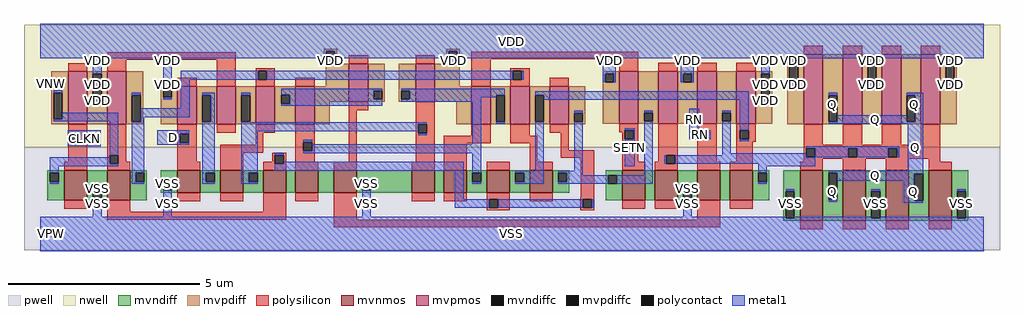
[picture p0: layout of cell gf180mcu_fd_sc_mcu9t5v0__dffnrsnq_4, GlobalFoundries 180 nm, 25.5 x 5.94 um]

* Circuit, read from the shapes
.subckt gf180mcu_fd_sc_mcu9t5v0__dffnrsnq_4 D RN SETN CLKN Q VDD VNW VPW VSS
XM1 VSS CLKN n1 VPW nfet_06v0 w=0.79u l=0.6u
XM2 n2 n1 VSS VPW nfet_06v0 w=0.79u l=0.6u
XM3 n3 D VSS VPW nfet_06v0 w=0.59u l=0.6u
XM4 n4 n2 n3 VPW nfet_06v0 w=0.59u l=0.6u
XM5 n5 n1 n4 VPW nfet_06v0 w=0.59u l=0.6u
XM6 n6 n7 n5 VPW nfet_06v0 w=0.59u l=0.6u
XM7 VSS RN n6 VPW nfet_06v0 w=0.59u l=0.6u
XM8 n8 n4 VSS VPW nfet_06v0 w=0.59u l=0.6u
XM9 n7 SETN n8 VPW nfet_06v0 w=0.59u l=0.6u
XM10 n9 n1 n7 VPW nfet_06v0 w=0.59u l=0.6u
XM11 n10 n2 n9 VPW nfet_06v0 w=0.59u l=0.6u
XM12 n11 SETN n10 VPW nfet_06v0 w=0.79u l=0.6u
XM13 VSS n12 n11 VPW nfet_06v0 w=0.79u l=0.6u
XM14 n13 RN VSS VPW nfet_06v0 w=0.79u l=0.6u
XM15 n12 n9 n13 VPW nfet_06v0 w=0.79u l=0.6u
XM16 Q n12 VSS VPW nfet_06v0 w=1.32u l=0.6u m=4
XM17 VDD CLKN n1 VNW pfet_06v0 w=1.38u l=0.5u
XM18 n2 n1 VDD VNW pfet_06v0 w=1.38u l=0.5u
XM19 n3 D VDD VNW pfet_06v0 w=1u l=0.5u
XM20 n4 n1 n3 VNW pfet_06v0 w=1u l=0.5u
XM21 n14 n2 n4 VNW pfet_06v0 w=1u l=0.5u
XM22 VDD n7 n14 VNW pfet_06v0 w=1u l=0.5u
XM23 n14 RN VDD VNW pfet_06v0 w=1u l=0.5u
XM24 VDD n4 n7 VNW pfet_06v0 w=1u l=0.5u
XM25 n7 SETN VDD VNW pfet_06v0 w=1u l=0.5u
XM26 n9 n2 n7 VNW pfet_06v0 w=1u l=0.5u
XM27 n10 n1 n9 VNW pfet_06v0 w=1u l=0.5u
XM28 n10 SETN VDD VNW pfet_06v0 w=1.38u l=0.5u
XM29 VDD n12 n10 VNW pfet_06v0 w=1.38u l=0.5u
XM30 n12 RN VDD VNW pfet_06v0 w=1.38u l=0.5u
XM31 VDD n9 n12 VNW pfet_06v0 w=1.38u l=0.5u
XM32 Q n12 VDD VNW pfet_06v0 w=1.83u l=0.5u m=4
.ends

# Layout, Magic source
magic
tech gf180mcuD
magscale 1 10
<< nwell >>
rect -86 453 5014 1094
<< pwell >>
rect -86 -86 5014 453
<< mvnmos >>
rect 124 175 244 333
rect 348 175 468 333
rect 716 215 836 333
rect 940 215 1060 333
rect 1164 215 1284 333
rect 1332 215 1452 333
rect 1532 215 1652 333
rect 1940 215 2060 333
rect 2108 215 2228 333
rect 2332 215 2452 333
rect 2556 215 2676 333
rect 3041 175 3161 333
rect 3209 175 3329 333
rect 3433 175 3553 333
rect 3601 175 3721 333
rect 3969 69 4089 333
rect 4193 69 4313 333
rect 4417 69 4537 333
rect 4641 69 4761 333
<< mvpmos >>
rect 144 573 244 849
rect 348 573 448 849
rect 716 573 816 773
rect 920 573 1020 773
rect 1124 573 1224 773
rect 1332 573 1432 773
rect 1612 690 1712 890
rect 1960 690 2060 890
rect 2252 573 2352 773
rect 2456 573 2556 773
rect 2660 573 2760 773
rect 3025 575 3125 851
rect 3229 575 3329 851
rect 3433 575 3533 851
rect 3637 575 3737 851
rect 3989 573 4089 939
rect 4193 573 4293 939
rect 4397 573 4497 939
rect 4601 573 4701 939
<< mvndiff >>
rect 36 320 124 333
rect 36 274 49 320
rect 95 274 124 320
rect 36 175 124 274
rect 244 234 348 333
rect 244 188 273 234
rect 319 188 348 234
rect 244 175 348 188
rect 468 320 556 333
rect 468 274 497 320
rect 543 274 556 320
rect 468 175 556 274
rect 628 274 716 333
rect 628 228 641 274
rect 687 228 716 274
rect 628 215 716 228
rect 836 320 940 333
rect 836 274 865 320
rect 911 274 940 320
rect 836 215 940 274
rect 1060 320 1164 333
rect 1060 274 1089 320
rect 1135 274 1164 320
rect 1060 215 1164 274
rect 1284 215 1332 333
rect 1452 215 1532 333
rect 1652 274 1940 333
rect 1652 228 1681 274
rect 1727 228 1940 274
rect 1652 215 1940 228
rect 2060 215 2108 333
rect 2228 320 2332 333
rect 2228 274 2257 320
rect 2303 274 2332 320
rect 2228 215 2332 274
rect 2452 320 2556 333
rect 2452 274 2481 320
rect 2527 274 2556 320
rect 2452 215 2556 274
rect 2676 320 2764 333
rect 2676 274 2705 320
rect 2751 274 2764 320
rect 2676 215 2764 274
rect 2953 308 3041 333
rect 2953 262 2966 308
rect 3012 262 3041 308
rect 2953 175 3041 262
rect 3161 175 3209 333
rect 3329 234 3433 333
rect 3329 188 3358 234
rect 3404 188 3433 234
rect 3329 175 3433 188
rect 3553 175 3601 333
rect 3721 320 3809 333
rect 3721 274 3750 320
rect 3796 274 3809 320
rect 3721 175 3809 274
rect 3881 222 3969 333
rect 3881 82 3894 222
rect 3940 82 3969 222
rect 3881 69 3969 82
rect 4089 320 4193 333
rect 4089 180 4118 320
rect 4164 180 4193 320
rect 4089 69 4193 180
rect 4313 222 4417 333
rect 4313 82 4342 222
rect 4388 82 4417 222
rect 4313 69 4417 82
rect 4537 314 4641 333
rect 4537 174 4566 314
rect 4612 174 4641 314
rect 4537 69 4641 174
rect 4761 222 4849 333
rect 4761 82 4790 222
rect 4836 82 4849 222
rect 4761 69 4849 82
<< mvpdiff >>
rect 1480 955 1552 968
rect 56 739 144 849
rect 56 599 69 739
rect 115 599 144 739
rect 56 573 144 599
rect 244 836 348 849
rect 244 696 273 836
rect 319 696 348 836
rect 244 573 348 696
rect 448 726 536 849
rect 1480 909 1493 955
rect 1539 909 1552 955
rect 2120 955 2192 968
rect 1480 896 1552 909
rect 1492 890 1552 896
rect 2120 909 2133 955
rect 2179 909 2192 955
rect 2120 890 2192 909
rect 1492 773 1612 890
rect 448 586 477 726
rect 523 586 536 726
rect 448 573 536 586
rect 628 760 716 773
rect 628 714 641 760
rect 687 714 716 760
rect 628 573 716 714
rect 816 726 920 773
rect 816 586 845 726
rect 891 586 920 726
rect 816 573 920 586
rect 1020 726 1124 773
rect 1020 586 1049 726
rect 1095 586 1124 726
rect 1020 573 1124 586
rect 1224 727 1332 773
rect 1224 681 1257 727
rect 1303 681 1332 727
rect 1224 573 1332 681
rect 1432 690 1612 773
rect 1712 749 1800 890
rect 1712 703 1741 749
rect 1787 703 1800 749
rect 1712 690 1800 703
rect 1872 749 1960 890
rect 1872 703 1885 749
rect 1931 703 1960 749
rect 1872 690 1960 703
rect 2060 773 2192 890
rect 3901 926 3989 939
rect 2937 838 3025 851
rect 2937 792 2950 838
rect 2996 792 3025 838
rect 2060 690 2252 773
rect 1432 573 1512 690
rect 2172 573 2252 690
rect 2352 726 2456 773
rect 2352 586 2381 726
rect 2427 586 2456 726
rect 2352 573 2456 586
rect 2556 726 2660 773
rect 2556 586 2585 726
rect 2631 586 2660 726
rect 2556 573 2660 586
rect 2760 632 2848 773
rect 2760 586 2789 632
rect 2835 586 2848 632
rect 2760 573 2848 586
rect 2937 575 3025 792
rect 3125 634 3229 851
rect 3125 588 3154 634
rect 3200 588 3229 634
rect 3125 575 3229 588
rect 3329 838 3433 851
rect 3329 792 3358 838
rect 3404 792 3433 838
rect 3329 575 3433 792
rect 3533 634 3637 851
rect 3533 588 3562 634
rect 3608 588 3637 634
rect 3533 575 3637 588
rect 3737 838 3825 851
rect 3737 698 3766 838
rect 3812 698 3825 838
rect 3737 575 3825 698
rect 3901 786 3914 926
rect 3960 786 3989 926
rect 3901 573 3989 786
rect 4089 726 4193 939
rect 4089 586 4118 726
rect 4164 586 4193 726
rect 4089 573 4193 586
rect 4293 926 4397 939
rect 4293 786 4322 926
rect 4368 786 4397 926
rect 4293 573 4397 786
rect 4497 726 4601 939
rect 4497 586 4526 726
rect 4572 586 4601 726
rect 4497 573 4601 586
rect 4701 926 4789 939
rect 4701 786 4730 926
rect 4776 786 4789 926
rect 4701 573 4789 786
<< mvndiffc >>
rect 49 274 95 320
rect 273 188 319 234
rect 497 274 543 320
rect 641 228 687 274
rect 865 274 911 320
rect 1089 274 1135 320
rect 1681 228 1727 274
rect 2257 274 2303 320
rect 2481 274 2527 320
rect 2705 274 2751 320
rect 2966 262 3012 308
rect 3358 188 3404 234
rect 3750 274 3796 320
rect 3894 82 3940 222
rect 4118 180 4164 320
rect 4342 82 4388 222
rect 4566 174 4612 314
rect 4790 82 4836 222
<< mvpdiffc >>
rect 69 599 115 739
rect 273 696 319 836
rect 1493 909 1539 955
rect 2133 909 2179 955
rect 477 586 523 726
rect 641 714 687 760
rect 845 586 891 726
rect 1049 586 1095 726
rect 1257 681 1303 727
rect 1741 703 1787 749
rect 1885 703 1931 749
rect 2950 792 2996 838
rect 2381 586 2427 726
rect 2585 586 2631 726
rect 2789 586 2835 632
rect 3154 588 3200 634
rect 3358 792 3404 838
rect 3562 588 3608 634
rect 3766 698 3812 838
rect 3914 786 3960 926
rect 4118 586 4164 726
rect 4322 786 4368 926
rect 4526 586 4572 726
rect 4730 786 4776 926
<< polysilicon >>
rect 348 909 1020 949
rect 144 849 244 893
rect 348 849 448 909
rect 716 773 816 817
rect 920 773 1020 909
rect 1612 890 1712 934
rect 1960 890 2060 934
rect 1124 852 1224 865
rect 1124 806 1137 852
rect 1183 806 1224 852
rect 1124 773 1224 806
rect 1332 773 1432 817
rect 2252 913 3125 953
rect 3989 939 4089 983
rect 4193 939 4293 983
rect 4397 939 4497 983
rect 4601 939 4701 983
rect 2252 773 2352 913
rect 2456 852 2556 865
rect 2456 806 2469 852
rect 2515 806 2556 852
rect 3025 851 3125 913
rect 3229 851 3329 895
rect 3433 851 3533 895
rect 3637 851 3737 895
rect 2456 773 2556 806
rect 2660 773 2760 817
rect 1612 646 1712 690
rect 144 516 244 573
rect 144 470 157 516
rect 203 470 244 516
rect 144 377 244 470
rect 124 333 244 377
rect 348 412 448 573
rect 348 366 361 412
rect 407 377 448 412
rect 716 523 816 573
rect 920 529 1020 573
rect 1124 529 1224 573
rect 716 477 729 523
rect 775 477 816 523
rect 716 377 816 477
rect 1124 465 1164 529
rect 940 425 1164 465
rect 1332 480 1432 573
rect 1332 434 1373 480
rect 1419 434 1432 480
rect 407 366 468 377
rect 348 333 468 366
rect 716 333 836 377
rect 940 333 1060 425
rect 1212 412 1284 425
rect 1212 377 1225 412
rect 1164 366 1225 377
rect 1271 366 1284 412
rect 1164 333 1284 366
rect 1332 377 1432 434
rect 1612 377 1652 646
rect 1960 572 2060 690
rect 1960 526 1973 572
rect 2019 526 2060 572
rect 1960 377 2060 526
rect 2252 513 2352 573
rect 1332 333 1452 377
rect 1532 333 1652 377
rect 1940 333 2060 377
rect 2108 473 2352 513
rect 2456 513 2556 573
rect 2660 529 2760 573
rect 3025 542 3125 575
rect 3025 531 3054 542
rect 2456 473 2596 513
rect 2108 333 2228 473
rect 2556 377 2596 473
rect 2720 437 2760 529
rect 3041 496 3054 531
rect 3100 496 3125 542
rect 2720 397 2893 437
rect 2332 333 2452 377
rect 2556 333 2676 377
rect 124 131 244 175
rect 348 115 468 175
rect 716 171 836 215
rect 940 171 1060 215
rect 1164 115 1284 215
rect 1332 171 1452 215
rect 348 75 1284 115
rect 1532 75 1652 215
rect 1940 171 2060 215
rect 2108 171 2228 215
rect 2332 182 2452 215
rect 2332 136 2345 182
rect 2391 136 2452 182
rect 2556 171 2676 215
rect 2824 190 2893 397
rect 3041 377 3125 496
rect 3229 412 3329 575
rect 3229 377 3270 412
rect 3041 333 3161 377
rect 3209 366 3270 377
rect 3316 366 3329 412
rect 3209 333 3329 366
rect 3433 542 3533 575
rect 3433 496 3446 542
rect 3492 496 3533 542
rect 3433 377 3533 496
rect 3637 542 3737 575
rect 3637 496 3654 542
rect 3700 496 3737 542
rect 3637 483 3737 496
rect 3637 377 3721 483
rect 3989 465 4089 573
rect 4193 465 4293 573
rect 4397 465 4497 573
rect 4601 465 4701 573
rect 3989 447 4701 465
rect 3989 401 4002 447
rect 4048 401 4221 447
rect 4267 401 4430 447
rect 4476 401 4701 447
rect 3989 393 4701 401
rect 3989 377 4089 393
rect 3433 333 3553 377
rect 3601 333 3721 377
rect 3969 333 4089 377
rect 4193 333 4313 393
rect 4417 333 4537 393
rect 4641 377 4701 393
rect 4641 333 4761 377
rect 2821 182 2893 190
rect 2332 123 2452 136
rect 2821 136 2834 182
rect 2880 136 2893 182
rect 2821 123 2893 136
rect 3041 131 3161 175
rect 3209 131 3329 175
rect 3433 75 3553 175
rect 3601 131 3721 175
rect 1532 35 3553 75
rect 3969 25 4089 69
rect 4193 25 4313 69
rect 4417 25 4537 69
rect 4641 25 4761 69
<< polycontact >>
rect 1137 806 1183 852
rect 2469 806 2515 852
rect 157 470 203 516
rect 361 366 407 412
rect 729 477 775 523
rect 1373 434 1419 480
rect 1225 366 1271 412
rect 1973 526 2019 572
rect 3054 496 3100 542
rect 2345 136 2391 182
rect 3270 366 3316 412
rect 3446 496 3492 542
rect 3654 496 3700 542
rect 4002 401 4048 447
rect 4221 401 4267 447
rect 4430 401 4476 447
rect 2834 136 2880 182
<< metal1 >>
rect 0 955 4928 1098
rect 0 918 1493 955
rect 273 836 319 918
rect 69 739 115 750
rect 641 760 687 918
rect 1539 918 2133 955
rect 1493 898 1539 909
rect 2179 926 4928 955
rect 2179 918 3914 926
rect 2133 898 2179 909
rect 273 685 319 696
rect 477 726 523 737
rect 115 599 407 634
rect 69 588 407 599
rect 142 516 314 542
rect 142 470 157 516
rect 203 470 314 516
rect 142 459 314 470
rect 361 412 407 588
rect 49 366 361 401
rect 49 355 407 366
rect 641 703 687 714
rect 733 806 1137 852
rect 1183 806 2469 852
rect 2515 806 2526 852
rect 2939 838 3007 918
rect 733 657 779 806
rect 2939 792 2950 838
rect 2996 792 3007 838
rect 3347 838 3415 918
rect 3347 792 3358 838
rect 3404 792 3415 838
rect 3766 838 3812 918
rect 1257 749 1787 760
rect 523 611 779 657
rect 845 726 911 737
rect 523 586 543 611
rect 49 320 95 355
rect 49 263 95 274
rect 477 320 543 586
rect 891 586 911 726
rect 611 523 778 542
rect 611 477 729 523
rect 775 477 778 523
rect 611 466 778 477
rect 477 274 497 320
rect 845 320 911 586
rect 477 263 543 274
rect 641 274 687 285
rect 273 234 319 245
rect 273 90 319 188
rect 845 274 865 320
rect 845 263 911 274
rect 1049 726 1095 737
rect 1257 727 1741 749
rect 1303 703 1741 727
rect 1303 681 1787 703
rect 1885 749 2427 760
rect 1931 726 2427 749
rect 1931 714 2381 726
rect 1931 703 2303 714
rect 1885 692 2303 703
rect 1257 670 1787 681
rect 1049 583 1095 586
rect 1049 572 2019 583
rect 1049 537 1973 572
rect 1049 320 1135 537
rect 1973 515 2019 526
rect 1373 480 1419 491
rect 2257 469 2303 692
rect 2381 575 2427 586
rect 2585 726 3700 746
rect 2631 700 3700 726
rect 1419 434 2303 469
rect 1373 423 2303 434
rect 1225 412 1271 423
rect 1271 366 2211 377
rect 1225 331 2211 366
rect 1049 274 1089 320
rect 1049 263 1135 274
rect 1681 274 1727 285
rect 641 90 687 228
rect 1681 90 1727 228
rect 2165 182 2211 331
rect 2257 320 2303 423
rect 2585 331 2631 586
rect 2789 632 2835 643
rect 2789 331 2835 586
rect 3154 634 3200 645
rect 3054 542 3106 553
rect 3100 496 3106 542
rect 3054 354 3106 496
rect 2257 263 2303 274
rect 2481 320 2631 331
rect 2527 274 2631 320
rect 2481 263 2631 274
rect 2705 320 2835 331
rect 2751 308 2835 320
rect 3154 308 3200 588
rect 3390 542 3442 654
rect 3562 634 3608 645
rect 3390 496 3446 542
rect 3492 496 3503 542
rect 3562 423 3608 588
rect 3654 542 3700 700
rect 3960 918 4322 926
rect 3914 775 3960 786
rect 4368 918 4730 926
rect 4322 775 4368 786
rect 4776 918 4928 926
rect 4730 775 4776 786
rect 3766 687 3812 698
rect 4118 726 4164 737
rect 4526 726 4612 737
rect 4164 586 4526 621
rect 4572 586 4612 726
rect 4118 575 4612 586
rect 3654 485 3700 496
rect 4002 447 4487 458
rect 3562 412 4002 423
rect 3259 366 3270 412
rect 3316 401 4002 412
rect 4048 401 4221 447
rect 4267 401 4430 447
rect 4476 401 4487 447
rect 3316 366 4048 401
rect 2751 274 2966 308
rect 2705 262 2966 274
rect 3012 262 3200 308
rect 3750 355 4048 366
rect 3750 320 3796 355
rect 4533 331 4612 575
rect 3750 263 3796 274
rect 4118 320 4612 331
rect 3358 234 3404 245
rect 2165 136 2345 182
rect 2391 136 2834 182
rect 2880 136 2891 182
rect 3358 90 3404 188
rect 3894 222 3940 233
rect 0 82 3894 90
rect 4164 314 4612 320
rect 4164 279 4566 314
rect 4118 169 4164 180
rect 4342 222 4388 233
rect 3940 82 4342 90
rect 4510 174 4566 279
rect 4510 163 4612 174
rect 4790 222 4836 233
rect 4388 82 4790 90
rect 4836 82 4928 90
rect 0 -90 4928 82
<< labels >>
flabel metal1 s 142 459 314 542 0 FreeSans 200 0 0 0 CLKN
port 4 nsew clock input
flabel metal1 s 611 466 778 542 0 FreeSans 200 0 0 0 D
port 1 nsew default input
flabel metal1 s 4526 621 4612 737 0 FreeSans 200 0 0 0 Q
port 5 nsew default output
flabel metal1 s 3390 542 3442 654 0 FreeSans 200 0 0 0 RN
port 2 nsew default input
flabel metal1 s 3054 354 3106 553 0 FreeSans 200 0 0 0 SETN
port 3 nsew default input
flabel metal1 s 0 918 4928 1098 0 FreeSans 200 0 0 0 VDD
port 6 nsew power bidirectional abutment
flabel metal1 s 1681 245 1727 285 0 FreeSans 200 0 0 0 VSS
port 9 nsew ground bidirectional abutment
flabel nwell s 10 734 110 834 0 FreeSans 400 0 0 0 VNW
port 7 nsew power bidirectional
flabel pwell s 10 -50 110 50 0 FreeSans 400 0 0 0 VPW
port 8 nsew ground bidirectional
rlabel metal1 s 3390 496 3503 542 1 RN
port 2 nsew default input
rlabel metal1 s 4118 621 4164 737 1 Q
port 5 nsew default output
rlabel metal1 s 4118 575 4612 621 1 Q
port 5 nsew default output
rlabel metal1 s 4533 331 4612 575 1 Q
port 5 nsew default output
rlabel metal1 s 4118 279 4612 331 1 Q
port 5 nsew default output
rlabel metal1 s 4510 169 4612 279 1 Q
port 5 nsew default output
rlabel metal1 s 4118 169 4164 279 1 Q
port 5 nsew default output
rlabel metal1 s 4510 163 4612 169 1 Q
port 5 nsew default output
rlabel metal1 s 4730 898 4776 918 1 VDD
port 6 nsew power bidirectional abutment
rlabel metal1 s 4322 898 4368 918 1 VDD
port 6 nsew power bidirectional abutment
rlabel metal1 s 3914 898 3960 918 1 VDD
port 6 nsew power bidirectional abutment
rlabel metal1 s 3766 898 3812 918 1 VDD
port 6 nsew power bidirectional abutment
rlabel metal1 s 3347 898 3415 918 1 VDD
port 6 nsew power bidirectional abutment
rlabel metal1 s 2939 898 3007 918 1 VDD
port 6 nsew power bidirectional abutment
rlabel metal1 s 2133 898 2179 918 1 VDD
port 6 nsew power bidirectional abutment
rlabel metal1 s 1493 898 1539 918 1 VDD
port 6 nsew power bidirectional abutment
rlabel metal1 s 641 898 687 918 1 VDD
port 6 nsew power bidirectional abutment
rlabel metal1 s 273 898 319 918 1 VDD
port 6 nsew power bidirectional abutment
rlabel metal1 s 4730 792 4776 898 1 VDD
port 6 nsew power bidirectional abutment
rlabel metal1 s 4322 792 4368 898 1 VDD
port 6 nsew power bidirectional abutment
rlabel metal1 s 3914 792 3960 898 1 VDD
port 6 nsew power bidirectional abutment
rlabel metal1 s 3766 792 3812 898 1 VDD
port 6 nsew power bidirectional abutment
rlabel metal1 s 3347 792 3415 898 1 VDD
port 6 nsew power bidirectional abutment
rlabel metal1 s 2939 792 3007 898 1 VDD
port 6 nsew power bidirectional abutment
rlabel metal1 s 641 792 687 898 1 VDD
port 6 nsew power bidirectional abutment
rlabel metal1 s 273 792 319 898 1 VDD
port 6 nsew power bidirectional abutment
rlabel metal1 s 4730 775 4776 792 1 VDD
port 6 nsew power bidirectional abutment
rlabel metal1 s 4322 775 4368 792 1 VDD
port 6 nsew power bidirectional abutment
rlabel metal1 s 3914 775 3960 792 1 VDD
port 6 nsew power bidirectional abutment
rlabel metal1 s 3766 775 3812 792 1 VDD
port 6 nsew power bidirectional abutment
rlabel metal1 s 641 775 687 792 1 VDD
port 6 nsew power bidirectional abutment
rlabel metal1 s 273 775 319 792 1 VDD
port 6 nsew power bidirectional abutment
rlabel metal1 s 3766 703 3812 775 1 VDD
port 6 nsew power bidirectional abutment
rlabel metal1 s 641 703 687 775 1 VDD
port 6 nsew power bidirectional abutment
rlabel metal1 s 273 703 319 775 1 VDD
port 6 nsew power bidirectional abutment
rlabel metal1 s 3766 687 3812 703 1 VDD
port 6 nsew power bidirectional abutment
rlabel metal1 s 273 687 319 703 1 VDD
port 6 nsew power bidirectional abutment
rlabel metal1 s 273 685 319 687 1 VDD
port 6 nsew power bidirectional abutment
rlabel metal1 s 641 245 687 285 1 VSS
port 9 nsew ground bidirectional abutment
rlabel metal1 s 3358 233 3404 245 1 VSS
port 9 nsew ground bidirectional abutment
rlabel metal1 s 1681 233 1727 245 1 VSS
port 9 nsew ground bidirectional abutment
rlabel metal1 s 641 233 687 245 1 VSS
port 9 nsew ground bidirectional abutment
rlabel metal1 s 273 233 319 245 1 VSS
port 9 nsew ground bidirectional abutment
rlabel metal1 s 4790 90 4836 233 1 VSS
port 9 nsew ground bidirectional abutment
rlabel metal1 s 4342 90 4388 233 1 VSS
port 9 nsew ground bidirectional abutment
rlabel metal1 s 3894 90 3940 233 1 VSS
port 9 nsew ground bidirectional abutment
rlabel metal1 s 3358 90 3404 233 1 VSS
port 9 nsew ground bidirectional abutment
rlabel metal1 s 1681 90 1727 233 1 VSS
port 9 nsew ground bidirectional abutment
rlabel metal1 s 641 90 687 233 1 VSS
port 9 nsew ground bidirectional abutment
rlabel metal1 s 273 90 319 233 1 VSS
port 9 nsew ground bidirectional abutment
rlabel metal1 s 0 -90 4928 90 1 VSS
port 9 nsew ground bidirectional abutment
<< properties >>
string FIXED_BBOX 0 0 4928 1008
string GDS_END 552364
string GDS_FILE $PDKPATH/libs.ref/gf180mcu_fd_sc_mcu9t5v0/gds/gf180mcu_fd_sc_mcu9t5v0.gds
string GDS_START 541480
string LEFclass core
string LEFsite GF018hv5v_green_sc9
string LEFsymmetry X Y
<< end >>
